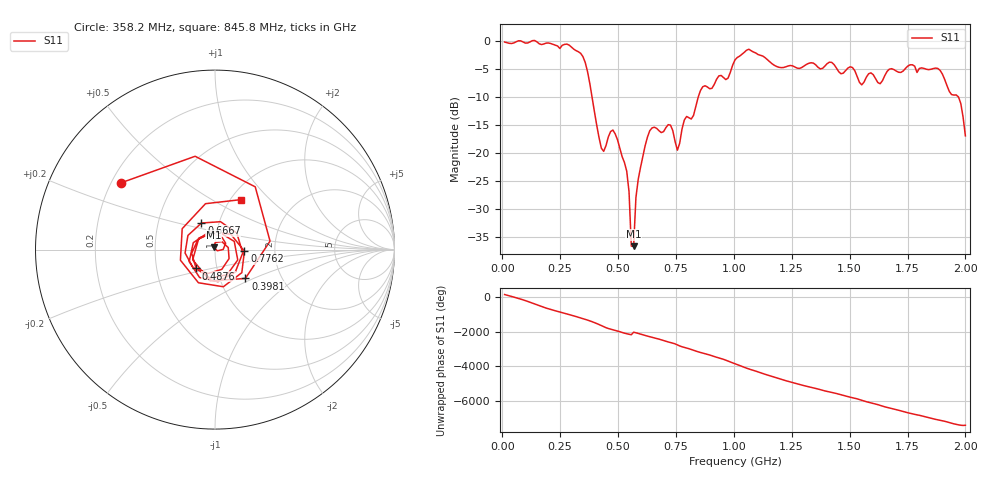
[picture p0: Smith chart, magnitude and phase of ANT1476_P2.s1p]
!Created with skrf (http://scikit-rf.org).
# Hz S RI R 50.0
!freq ReS11 ImS11
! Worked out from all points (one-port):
!   201 points, 10 MHz to 2 GHz, reference 50 ohm
!   lowest |S11| = -36.6 dB at 567.2 MHz (marker M1), VSWR 1.03, Z = 49.2 + j1.26 ohm
!   |S11| at or under -10 dB: 387.4 MHz to 846.3 MHz (458.8 MHz wide, 74.4 % of centre); 1.97 GHz to end of sweep
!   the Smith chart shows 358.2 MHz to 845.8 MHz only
!   S11 on the Smith chart (normalised r, x): 358.2 MHz: 0.24, +0.30; 398.1 MHz: 1.32, -0.45; 487.6 MHz: 0.79, -0.17; 666.7 MHz: 0.83, +0.25; 776.1 MHz: 1.39, -0.03; 845.8 MHz: 1.12, +0.69
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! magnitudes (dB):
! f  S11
! 10 MHz  -0.2
! 258.8 MHz  -0.8
! 358.2 MHz  -3.9
! 398.1 MHz  -12.6
! 437.9 MHz  -19.7
! 487.6 MHz  -16.6
! 507.5 MHz  -19.1
! 537.4 MHz  -23.2
! 547.3 MHz  -26.8
! 557.2 MHz  -36.6
! 567.2 MHz  -36.6
! 577.1 MHz  -27.9
! 597 MHz  -22.5
! 636.9 MHz  -16.0
! 666.7 MHz  -15.6
! 726.4 MHz  -15.0
! 756.2 MHz  -19.5
! 776.1 MHz  -15.7
! 845.8 MHz  -10.1
! 1.005 GHz  -3.4
! 1.065 GHz  -1.5
! 1.254 GHz  -4.4
! 1.502 GHz  -4.6
! 1.552 GHz  -7.8
! 1.751 GHz  -4.5
! 1.891 GHz  -5.2
! 1.97 GHz  -10.0
! 2 GHz  -16.9
